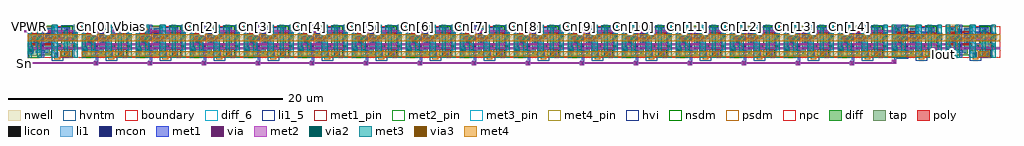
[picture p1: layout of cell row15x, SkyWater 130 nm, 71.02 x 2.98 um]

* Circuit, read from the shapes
.subckt row15x Cn[0] Cn[10] Cn[11] Cn[12] Cn[13] Cn[14] Cn[1] Cn[2] Cn[3] Cn[4] Cn[5] Cn[6] Cn[7] Cn[8] Cn[9] Iout Rn Sn VGND VPWR Vbias
XM1 icellwrapdummy_11/icell_0/PDM VPWR icellwrapdummy_11/icell_0/Ien VGND sky130_fd_pr__nfet_01v8 w=0.5 l=0.15
XM2 VGND VPWR icellwrapdummy_11/icell_0/PDM VGND sky130_fd_pr__nfet_01v8 w=0.5 l=0.15 m=2
XM3 icellwrapdummy_11/icell_0/SM icellwrapdummy_11/icell_0/Ien icellwrapdummy_11/icell_0/Iout VGND sky130_fd_pr__nfet_g5v0d10v5 w=0.5 l=0.5
XM4 VGND VGND icellwrapdummy_11/icell_0/SM VGND sky130_fd_pr__nfet_g5v0d10v5 w=0.5 l=0.5
XM5 icellwrap_0/icell_0/PDM Sn icellwrap_0/icell_0/Ien VGND sky130_fd_pr__nfet_01v8 w=0.5 l=0.15
XM6 VGND Cn[0] icellwrap_0/icell_0/PDM VGND sky130_fd_pr__nfet_01v8 w=0.5 l=0.15
XM7 icellwrap_0/icell_0/PDM Rn VGND VGND sky130_fd_pr__nfet_01v8 w=0.5 l=0.15
XM8 icellwrap_0/icell_0/SM icellwrap_0/icell_0/Ien Iout VGND sky130_fd_pr__nfet_g5v0d10v5 w=0.5 l=0.5
XM9 VGND Vbias icellwrap_0/icell_0/SM VGND sky130_fd_pr__nfet_g5v0d10v5 w=0.5 l=0.5
XM10 icellwrap_1/icell_0/PDM Sn icellwrap_1/icell_0/Ien VGND sky130_fd_pr__nfet_01v8 w=0.5 l=0.15
XM11 VGND Cn[1] icellwrap_1/icell_0/PDM VGND sky130_fd_pr__nfet_01v8 w=0.5 l=0.15
XM12 icellwrap_1/icell_0/PDM Rn VGND VGND sky130_fd_pr__nfet_01v8 w=0.5 l=0.15
XM13 icellwrap_1/icell_0/SM icellwrap_1/icell_0/Ien Iout VGND sky130_fd_pr__nfet_g5v0d10v5 w=0.5 l=0.5
XM14 VGND Vbias icellwrap_1/icell_0/SM VGND sky130_fd_pr__nfet_g5v0d10v5 w=0.5 l=0.5
XM15 icellwrap_2/icell_0/PDM Sn icellwrap_2/icell_0/Ien VGND sky130_fd_pr__nfet_01v8 w=0.5 l=0.15
XM16 VGND Cn[2] icellwrap_2/icell_0/PDM VGND sky130_fd_pr__nfet_01v8 w=0.5 l=0.15
XM17 icellwrap_2/icell_0/PDM Rn VGND VGND sky130_fd_pr__nfet_01v8 w=0.5 l=0.15
XM18 icellwrap_2/icell_0/SM icellwrap_2/icell_0/Ien Iout VGND sky130_fd_pr__nfet_g5v0d10v5 w=0.5 l=0.5
XM19 VGND Vbias icellwrap_2/icell_0/SM VGND sky130_fd_pr__nfet_g5v0d10v5 w=0.5 l=0.5
XM20 icellwrap_3/icell_0/PDM Sn icellwrap_3/icell_0/Ien VGND sky130_fd_pr__nfet_01v8 w=0.5 l=0.15
XM21 VGND Cn[3] icellwrap_3/icell_0/PDM VGND sky130_fd_pr__nfet_01v8 w=0.5 l=0.15
XM22 icellwrap_3/icell_0/PDM Rn VGND VGND sky130_fd_pr__nfet_01v8 w=0.5 l=0.15
XM23 icellwrap_3/icell_0/SM icellwrap_3/icell_0/Ien Iout VGND sky130_fd_pr__nfet_g5v0d10v5 w=0.5 l=0.5
XM24 VGND Vbias icellwrap_3/icell_0/SM VGND sky130_fd_pr__nfet_g5v0d10v5 w=0.5 l=0.5
XM25 icellwrap_4/icell_0/PDM Sn icellwrap_4/icell_0/Ien VGND sky130_fd_pr__nfet_01v8 w=0.5 l=0.15
XM26 VGND Cn[4] icellwrap_4/icell_0/PDM VGND sky130_fd_pr__nfet_01v8 w=0.5 l=0.15
XM27 icellwrap_4/icell_0/PDM Rn VGND VGND sky130_fd_pr__nfet_01v8 w=0.5 l=0.15
XM28 icellwrap_4/icell_0/SM icellwrap_4/icell_0/Ien Iout VGND sky130_fd_pr__nfet_g5v0d10v5 w=0.5 l=0.5
XM29 VGND Vbias icellwrap_4/icell_0/SM VGND sky130_fd_pr__nfet_g5v0d10v5 w=0.5 l=0.5
XM30 icellwrap_5/icell_0/PDM Sn icellwrap_5/icell_0/Ien VGND sky130_fd_pr__nfet_01v8 w=0.5 l=0.15
XM31 VGND Cn[5] icellwrap_5/icell_0/PDM VGND sky130_fd_pr__nfet_01v8 w=0.5 l=0.15
XM32 icellwrap_5/icell_0/PDM Rn VGND VGND sky130_fd_pr__nfet_01v8 w=0.5 l=0.15
XM33 icellwrap_5/icell_0/SM icellwrap_5/icell_0/Ien Iout VGND sky130_fd_pr__nfet_g5v0d10v5 w=0.5 l=0.5
XM34 VGND Vbias icellwrap_5/icell_0/SM VGND sky130_fd_pr__nfet_g5v0d10v5 w=0.5 l=0.5
XM35 icellwrap_17/icell_0/PDM Sn icellwrap_17/icell_0/Ien VGND sky130_fd_pr__nfet_01v8 w=0.5 l=0.15
XM36 VGND Cn[6] icellwrap_17/icell_0/PDM VGND sky130_fd_pr__nfet_01v8 w=0.5 l=0.15
XM37 icellwrap_17/icell_0/PDM Rn VGND VGND sky130_fd_pr__nfet_01v8 w=0.5 l=0.15
XM38 icellwrap_17/icell_0/SM icellwrap_17/icell_0/Ien Iout VGND sky130_fd_pr__nfet_g5v0d10v5 w=0.5 l=0.5
XM39 VGND Vbias icellwrap_17/icell_0/SM VGND sky130_fd_pr__nfet_g5v0d10v5 w=0.5 l=0.5
XM40 icellwrap_16/icell_0/PDM Sn icellwrap_16/icell_0/Ien VGND sky130_fd_pr__nfet_01v8 w=0.5 l=0.15
XM41 VGND Cn[7] icellwrap_16/icell_0/PDM VGND sky130_fd_pr__nfet_01v8 w=0.5 l=0.15
XM42 icellwrap_16/icell_0/PDM Rn VGND VGND sky130_fd_pr__nfet_01v8 w=0.5 l=0.15
XM43 icellwrap_16/icell_0/SM icellwrap_16/icell_0/Ien Iout VGND sky130_fd_pr__nfet_g5v0d10v5 w=0.5 l=0.5
XM44 VGND Vbias icellwrap_16/icell_0/SM VGND sky130_fd_pr__nfet_g5v0d10v5 w=0.5 l=0.5
XM45 icellwrap_15/icell_0/PDM Sn icellwrap_15/icell_0/Ien VGND sky130_fd_pr__nfet_01v8 w=0.5 l=0.15
XM46 VGND Cn[8] icellwrap_15/icell_0/PDM VGND sky130_fd_pr__nfet_01v8 w=0.5 l=0.15
XM47 icellwrap_15/icell_0/PDM Rn VGND VGND sky130_fd_pr__nfet_01v8 w=0.5 l=0.15
XM48 icellwrap_15/icell_0/SM icellwrap_15/icell_0/Ien Iout VGND sky130_fd_pr__nfet_g5v0d10v5 w=0.5 l=0.5
XM49 VGND Vbias icellwrap_15/icell_0/SM VGND sky130_fd_pr__nfet_g5v0d10v5 w=0.5 l=0.5
XM50 icellwrap_13/icell_0/PDM Sn icellwrap_13/icell_0/Ien VGND sky130_fd_pr__nfet_01v8 w=0.5 l=0.15
XM51 VGND Cn[9] icellwrap_13/icell_0/PDM VGND sky130_fd_pr__nfet_01v8 w=0.5 l=0.15
XM52 icellwrap_13/icell_0/PDM Rn VGND VGND sky130_fd_pr__nfet_01v8 w=0.5 l=0.15
XM53 icellwrap_13/icell_0/SM icellwrap_13/icell_0/Ien Iout VGND sky130_fd_pr__nfet_g5v0d10v5 w=0.5 l=0.5
XM54 VGND Vbias icellwrap_13/icell_0/SM VGND sky130_fd_pr__nfet_g5v0d10v5 w=0.5 l=0.5
XM55 icellwrap_9/icell_0/PDM Sn icellwrap_9/icell_0/Ien VGND sky130_fd_pr__nfet_01v8 w=0.5 l=0.15
XM56 VGND Cn[10] icellwrap_9/icell_0/PDM VGND sky130_fd_pr__nfet_01v8 w=0.5 l=0.15
XM57 icellwrap_9/icell_0/PDM Rn VGND VGND sky130_fd_pr__nfet_01v8 w=0.5 l=0.15
XM58 icellwrap_9/icell_0/SM icellwrap_9/icell_0/Ien Iout VGND sky130_fd_pr__nfet_g5v0d10v5 w=0.5 l=0.5
XM59 VGND Vbias icellwrap_9/icell_0/SM VGND sky130_fd_pr__nfet_g5v0d10v5 w=0.5 l=0.5
XM60 icellwrap_12/icell_0/PDM Sn icellwrap_12/icell_0/Ien VGND sky130_fd_pr__nfet_01v8 w=0.5 l=0.15
XM61 VGND Cn[11] icellwrap_12/icell_0/PDM VGND sky130_fd_pr__nfet_01v8 w=0.5 l=0.15
XM62 icellwrap_12/icell_0/PDM Rn VGND VGND sky130_fd_pr__nfet_01v8 w=0.5 l=0.15
XM63 icellwrap_12/icell_0/SM icellwrap_12/icell_0/Ien Iout VGND sky130_fd_pr__nfet_g5v0d10v5 w=0.5 l=0.5
XM64 VGND Vbias icellwrap_12/icell_0/SM VGND sky130_fd_pr__nfet_g5v0d10v5 w=0.5 l=0.5
XM65 icellwrap_10/icell_0/PDM Sn icellwrap_10/icell_0/Ien VGND sky130_fd_pr__nfet_01v8 w=0.5 l=0.15
XM66 VGND Cn[12] icellwrap_10/icell_0/PDM VGND sky130_fd_pr__nfet_01v8 w=0.5 l=0.15
XM67 icellwrap_10/icell_0/PDM Rn VGND VGND sky130_fd_pr__nfet_01v8 w=0.5 l=0.15
XM68 icellwrap_10/icell_0/SM icellwrap_10/icell_0/Ien Iout VGND sky130_fd_pr__nfet_g5v0d10v5 w=0.5 l=0.5
XM69 VGND Vbias icellwrap_10/icell_0/SM VGND sky130_fd_pr__nfet_g5v0d10v5 w=0.5 l=0.5
XM70 icellwrap_8/icell_0/PDM Sn icellwrap_8/icell_0/Ien VGND sky130_fd_pr__nfet_01v8 w=0.5 l=0.15
XM71 VGND Cn[13] icellwrap_8/icell_0/PDM VGND sky130_fd_pr__nfet_01v8 w=0.5 l=0.15
XM72 icellwrap_8/icell_0/PDM Rn VGND VGND sky130_fd_pr__nfet_01v8 w=0.5 l=0.15
XM73 icellwrap_8/icell_0/SM icellwrap_8/icell_0/Ien Iout VGND sky130_fd_pr__nfet_g5v0d10v5 w=0.5 l=0.5
XM74 VGND Vbias icellwrap_8/icell_0/SM VGND sky130_fd_pr__nfet_g5v0d10v5 w=0.5 l=0.5
XM75 icellwrap_7/icell_0/PDM Sn icellwrap_7/icell_0/Ien VGND sky130_fd_pr__nfet_01v8 w=0.5 l=0.15
XM76 VGND Cn[14] icellwrap_7/icell_0/PDM VGND sky130_fd_pr__nfet_01v8 w=0.5 l=0.15
XM77 icellwrap_7/icell_0/PDM Rn VGND VGND sky130_fd_pr__nfet_01v8 w=0.5 l=0.15
XM78 icellwrap_7/icell_0/SM icellwrap_7/icell_0/Ien Iout VGND sky130_fd_pr__nfet_g5v0d10v5 w=0.5 l=0.5
XM79 VGND Vbias icellwrap_7/icell_0/SM VGND sky130_fd_pr__nfet_g5v0d10v5 w=0.5 l=0.5
XM80 icellwrapfinal_6/icell_0/PDM Sn icellwrapfinal_6/icell_0/Ien VGND sky130_fd_pr__nfet_01v8 w=0.5 l=0.15
XM81 VGND VPWR icellwrapfinal_6/icell_0/PDM VGND sky130_fd_pr__nfet_01v8 w=0.5 l=0.15 m=2
XM82 icellwrapfinal_6/icell_0/SM icellwrapfinal_6/icell_0/Ien Iout VGND sky130_fd_pr__nfet_g5v0d10v5 w=0.5 l=0.5
XM83 VGND Vbias icellwrapfinal_6/icell_0/SM VGND sky130_fd_pr__nfet_g5v0d10v5 w=0.5 l=0.5
XM84 icellwrapdummy_14/icell_0/PDM VPWR icellwrapdummy_14/icell_0/Ien VGND sky130_fd_pr__nfet_01v8 w=0.5 l=0.15
XM85 VGND VPWR icellwrapdummy_14/icell_0/PDM VGND sky130_fd_pr__nfet_01v8 w=0.5 l=0.15 m=2
XM86 icellwrapdummy_14/icell_0/SM icellwrapdummy_14/icell_0/Ien icellwrapdummy_14/icell_0/Iout VGND sky130_fd_pr__nfet_g5v0d10v5 w=0.5 l=0.5
XM87 VGND VGND icellwrapdummy_14/icell_0/SM VGND sky130_fd_pr__nfet_g5v0d10v5 w=0.5 l=0.5
XM88 icellwrapdummy_11/icell_0/Ien VPWR VPWR VPWR sky130_fd_pr__pfet_01v8 w=0.5 l=0.15
XM89 icellwrapdummy_11/icell_0/PUM VPWR icellwrapdummy_11/icell_0/Ien VPWR sky130_fd_pr__pfet_01v8 w=0.5 l=0.15
XM90 VPWR VPWR icellwrapdummy_11/icell_0/PUM VPWR sky130_fd_pr__pfet_01v8 w=0.5 l=0.15
XM91 icellwrap_0/icell_0/Ien Sn VPWR VPWR sky130_fd_pr__pfet_01v8 w=0.5 l=0.15
XM92 icellwrap_0/icell_0/PUM Cn[0] icellwrap_0/icell_0/Ien VPWR sky130_fd_pr__pfet_01v8 w=0.5 l=0.15
XM93 VPWR Rn icellwrap_0/icell_0/PUM VPWR sky130_fd_pr__pfet_01v8 w=0.5 l=0.15
XM94 icellwrap_1/icell_0/Ien Sn VPWR VPWR sky130_fd_pr__pfet_01v8 w=0.5 l=0.15
XM95 icellwrap_1/icell_0/PUM Cn[1] icellwrap_1/icell_0/Ien VPWR sky130_fd_pr__pfet_01v8 w=0.5 l=0.15
XM96 VPWR Rn icellwrap_1/icell_0/PUM VPWR sky130_fd_pr__pfet_01v8 w=0.5 l=0.15
XM97 icellwrap_2/icell_0/Ien Sn VPWR VPWR sky130_fd_pr__pfet_01v8 w=0.5 l=0.15
XM98 icellwrap_2/icell_0/PUM Cn[2] icellwrap_2/icell_0/Ien VPWR sky130_fd_pr__pfet_01v8 w=0.5 l=0.15
XM99 VPWR Rn icellwrap_2/icell_0/PUM VPWR sky130_fd_pr__pfet_01v8 w=0.5 l=0.15
XM100 icellwrap_3/icell_0/Ien Sn VPWR VPWR sky130_fd_pr__pfet_01v8 w=0.5 l=0.15
XM101 icellwrap_3/icell_0/PUM Cn[3] icellwrap_3/icell_0/Ien VPWR sky130_fd_pr__pfet_01v8 w=0.5 l=0.15
XM102 VPWR Rn icellwrap_3/icell_0/PUM VPWR sky130_fd_pr__pfet_01v8 w=0.5 l=0.15
XM103 icellwrap_4/icell_0/Ien Sn VPWR VPWR sky130_fd_pr__pfet_01v8 w=0.5 l=0.15
XM104 icellwrap_4/icell_0/PUM Cn[4] icellwrap_4/icell_0/Ien VPWR sky130_fd_pr__pfet_01v8 w=0.5 l=0.15
XM105 VPWR Rn icellwrap_4/icell_0/PUM VPWR sky130_fd_pr__pfet_01v8 w=0.5 l=0.15
XM106 icellwrap_5/icell_0/Ien Sn VPWR VPWR sky130_fd_pr__pfet_01v8 w=0.5 l=0.15
XM107 icellwrap_5/icell_0/PUM Cn[5] icellwrap_5/icell_0/Ien VPWR sky130_fd_pr__pfet_01v8 w=0.5 l=0.15
XM108 VPWR Rn icellwrap_5/icell_0/PUM VPWR sky130_fd_pr__pfet_01v8 w=0.5 l=0.15
XM109 icellwrap_17/icell_0/Ien Sn VPWR VPWR sky130_fd_pr__pfet_01v8 w=0.5 l=0.15
XM110 icellwrap_17/icell_0/PUM Cn[6] icellwrap_17/icell_0/Ien VPWR sky130_fd_pr__pfet_01v8 w=0.5 l=0.15
XM111 VPWR Rn icellwrap_17/icell_0/PUM VPWR sky130_fd_pr__pfet_01v8 w=0.5 l=0.15
XM112 icellwrap_16/icell_0/Ien Sn VPWR VPWR sky130_fd_pr__pfet_01v8 w=0.5 l=0.15
XM113 icellwrap_16/icell_0/PUM Cn[7] icellwrap_16/icell_0/Ien VPWR sky130_fd_pr__pfet_01v8 w=0.5 l=0.15
XM114 VPWR Rn icellwrap_16/icell_0/PUM VPWR sky130_fd_pr__pfet_01v8 w=0.5 l=0.15
XM115 icellwrap_15/icell_0/Ien Sn VPWR VPWR sky130_fd_pr__pfet_01v8 w=0.5 l=0.15
XM116 icellwrap_15/icell_0/PUM Cn[8] icellwrap_15/icell_0/Ien VPWR sky130_fd_pr__pfet_01v8 w=0.5 l=0.15
XM117 VPWR Rn icellwrap_15/icell_0/PUM VPWR sky130_fd_pr__pfet_01v8 w=0.5 l=0.15
XM118 icellwrap_13/icell_0/Ien Sn VPWR VPWR sky130_fd_pr__pfet_01v8 w=0.5 l=0.15
XM119 icellwrap_13/icell_0/PUM Cn[9] icellwrap_13/icell_0/Ien VPWR sky130_fd_pr__pfet_01v8 w=0.5 l=0.15
XM120 VPWR Rn icellwrap_13/icell_0/PUM VPWR sky130_fd_pr__pfet_01v8 w=0.5 l=0.15
XM121 icellwrap_9/icell_0/Ien Sn VPWR VPWR sky130_fd_pr__pfet_01v8 w=0.5 l=0.15
XM122 icellwrap_9/icell_0/PUM Cn[10] icellwrap_9/icell_0/Ien VPWR sky130_fd_pr__pfet_01v8 w=0.5 l=0.15
XM123 VPWR Rn icellwrap_9/icell_0/PUM VPWR sky130_fd_pr__pfet_01v8 w=0.5 l=0.15
XM124 icellwrap_12/icell_0/Ien Sn VPWR VPWR sky130_fd_pr__pfet_01v8 w=0.5 l=0.15
XM125 icellwrap_12/icell_0/PUM Cn[11] icellwrap_12/icell_0/Ien VPWR sky130_fd_pr__pfet_01v8 w=0.5 l=0.15
XM126 VPWR Rn icellwrap_12/icell_0/PUM VPWR sky130_fd_pr__pfet_01v8 w=0.5 l=0.15
XM127 icellwrap_10/icell_0/Ien Sn VPWR VPWR sky130_fd_pr__pfet_01v8 w=0.5 l=0.15
XM128 icellwrap_10/icell_0/PUM Cn[12] icellwrap_10/icell_0/Ien VPWR sky130_fd_pr__pfet_01v8 w=0.5 l=0.15
XM129 VPWR Rn icellwrap_10/icell_0/PUM VPWR sky130_fd_pr__pfet_01v8 w=0.5 l=0.15
XM130 icellwrap_8/icell_0/Ien Sn VPWR VPWR sky130_fd_pr__pfet_01v8 w=0.5 l=0.15
XM131 icellwrap_8/icell_0/PUM Cn[13] icellwrap_8/icell_0/Ien VPWR sky130_fd_pr__pfet_01v8 w=0.5 l=0.15
XM132 VPWR Rn icellwrap_8/icell_0/PUM VPWR sky130_fd_pr__pfet_01v8 w=0.5 l=0.15
XM133 icellwrap_7/icell_0/Ien Sn VPWR VPWR sky130_fd_pr__pfet_01v8 w=0.5 l=0.15
XM134 icellwrap_7/icell_0/PUM Cn[14] icellwrap_7/icell_0/Ien VPWR sky130_fd_pr__pfet_01v8 w=0.5 l=0.15
XM135 VPWR Rn icellwrap_7/icell_0/PUM VPWR sky130_fd_pr__pfet_01v8 w=0.5 l=0.15
XM136 icellwrapfinal_6/icell_0/Ien Sn VPWR VPWR sky130_fd_pr__pfet_01v8 w=0.5 l=0.15
XM137 icellwrapfinal_6/icell_0/PUM VPWR icellwrapfinal_6/icell_0/Ien VPWR sky130_fd_pr__pfet_01v8 w=0.5 l=0.15
XM138 VPWR VPWR icellwrapfinal_6/icell_0/PUM VPWR sky130_fd_pr__pfet_01v8 w=0.5 l=0.15
XM139 icellwrapdummy_14/icell_0/Ien VPWR VPWR VPWR sky130_fd_pr__pfet_01v8 w=0.5 l=0.15
XM140 icellwrapdummy_14/icell_0/PUM VPWR icellwrapdummy_14/icell_0/Ien VPWR sky130_fd_pr__pfet_01v8 w=0.5 l=0.15
XM141 VPWR VPWR icellwrapdummy_14/icell_0/PUM VPWR sky130_fd_pr__pfet_01v8 w=0.5 l=0.15
.ends

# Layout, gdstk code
import gdstk
lib = gdstk.Library(unit=1e-6, precision=1e-09)
def R(c, l, rs):  # rectangles x0, y0, x1, y1
    for r in rs: c.add(gdstk.rectangle(r[:2], r[2:], *l))
def A(c, l, x, y, w, h, nx, ny, dx, dy):  # array of equal rectangles
    R(c, l, [(x+i*dx, y+j*dy, x+i*dx+w, y+j*dy+h) for i in range(nx) for j in range(ny)])
nwell = (64, 20)
diff_6 = (65, 6)
diff = (65, 20)
tap = (65, 44)
poly = (66, 20)
licon = (66, 44)
li1_5 = (67, 5)
li1 = (67, 20)
mcon = (67, 44)
met1_pin = (68, 16)
met1 = (68, 20)
via = (68, 44)
met2_pin = (69, 16)
met2 = (69, 20)
via2 = (69, 44)
met3_pin = (70, 16)
met3 = (70, 20)
via3 = (70, 44)
met4_pin = (71, 16)
met4 = (71, 20)
hvi = (75, 20)
nsdm = (93, 44)
psdm = (94, 20)
npc = (95, 20)
hvntm = (125, 20)
boundary = (235, 4)

icell = lib.new_cell('icell')
R(icell, nwell, [(0,-0.04,0.86,2.43)])
R(icell, diff_6, [(2.65,1.13,3.05,1.28), (0.26,1.57,0.6,1.71)])
R(icell, diff, [(2.6,0.23,3.1,2.18), (1.28,0.32,1.59,0.66), (0.18,0.61,0.68,2.19), (1.28,0.66,1.78,2.19), (1.28,2.19,1.59,2.21)])
R(icell, tap, [(2.06,0.02,2.23,0.44), (0.18,0.14,0.68,0.61)])
R(icell, poly, [(2.16,0.58,3.54,1.08), (0.87,0.73,1.14,0.91), (0.05,0.91,1.92,1.06), (0.84,1.29,1.17,1.35), (2.16,1.33,3.54,1.83), (0.05,1.35,1.92,1.5), (0.84,1.5,1.17,1.56), (0.05,1.77,1.14,1.79), (0.05,1.79,1.92,1.92), (0.87,1.92,1.92,1.94), (0.87,1.94,1.14,2.12)])
A(icell, licon, 0.92, 0.81, 0.17, 0.17, 1, 3, 0, 0.53)
R(icell, licon, [(2.06,0.15,2.23,0.32), (2.765,0.295,2.935,0.465), (0.22,0.33,0.39,0.5), (0.22,0.67,0.39,0.84), (1.38,0.68,1.55,0.85), (2.225,0.745,2.395,0.915), (3.305,0.745,3.475,0.915), (0.47,1.12,0.64,1.29), (1.46,1.12,1.63,1.29), (2.225,1.495,2.395,1.665), (3.305,1.495,3.475,1.665), (1.37,1.56,1.54,1.73), (2.765,1.95,2.935,2.12), (0.39,1.98,0.56,2.15), (1.38,2,1.55,2.17)])
R(icell, li1_5, [(0.92,0.39,1.22,0.54), (1.3,2.01,1.36,2.15)])
R(icell, li1, [(2,0.07,2.23,0.4), (0.03,0.25,0.39,0.92), (2.6,0.28,3.1,0.48), (0.56,0.38,1.47,0.55), (0.56,0.55,0.73,1.12), (1.3,0.55,1.47,0.67), (2.16,0.58,2.46,0.67), (3.24,0.58,3.54,0.68), (1.3,0.67,2.46,0.68), (1.3,0.68,3.54,0.85), (0.92,0.72,1.09,1.07), (2.16,0.85,3.54,1.08), (0.03,0.92,0.22,1.98), (0.39,1.12,0.73,1.29), (1.28,1.12,1.96,1.29), (0.92,1.26,1.09,1.59), (1.79,1.29,1.96,2), (2.16,1.33,3.54,1.73), (1.29,1.56,1.62,1.73), (2.16,1.73,2.46,1.83), (3.24,1.73,3.54,1.83), (0.92,1.78,1.09,2.13), (2.6,1.93,3.1,2.18), (0.03,1.98,0.66,2.22), (1.28,2,1.96,2.17)])
A(icell, mcon, 0.92, 0.81, 0.17, 0.17, 1, 3, 0, 0.53)
R(icell, mcon, [(2.03,0.15,2.2,0.32), (2.765,0.295,2.935,0.465), (0.22,0.5,0.39,0.67), (3.305,1.495,3.475,1.665), (1.37,1.56,1.54,1.73), (2.765,1.95,2.935,2.12)])
R(icell, met1_pin, [(2.65,0.12,3.05,0.46), (0.12,0.46,0.37,0.71), (0.92,0.75,1.15,1.04), (0.47,1.3,0.72,1.55), (3.29,1.38,3.59,1.78), (1.78,1.5,2.03,1.75), (0.92,1.81,1.15,2.1)])
R(icell, met1, [(1.7,0.07,2.23,0.4), (2.6,0.07,3.1,0.51), (1.7,0.4,2.08,1.47), (0.07,0.41,0.42,0.76), (0.89,0.72,1.18,1.07), (0.42,1.25,1.14,1.6), (3.24,1.33,3.64,1.83), (1.29,1.47,2.08,1.81), (0.89,1.78,1.15,2.13), (1.7,1.81,2.08,1.88), (1.7,1.88,3.1,2.23)])
R(icell, hvi, [(1.725,-0.19,2.565,0.045), (1.725,0.045,3.285,0.65), (2.415,0.65,3.285,2.365)])
R(icell, nsdm, [(0.055,0.015,0.805,0.195), (2.475,0.105,3.225,2.305), (0.055,0.195,1.715,0.535), (0.055,0.535,1.905,0.61), (1.155,0.61,1.905,2.315), (1.155,2.315,1.715,2.335)])
R(icell, psdm, [(1.935,-0.105,2.355,0.565), (0.055,0.61,0.805,2.315)])
R(icell, npc, [(2.125,0.645,2.495,1.015), (3.205,0.645,3.575,1.015), (0.82,0.71,1.19,2.14), (2.125,1.395,2.495,1.765), (3.205,1.395,3.575,1.765)])
R(icell, hvntm, [(2.415,0.045,3.285,2.365)])
R(icell, boundary, [(0,0,3.93,2.32)])
icell.add(gdstk.Label('PDM', (1.33,2.08), layer=67, texttype=5))
icell.add(gdstk.Label('Ien', (1.07,0.465), layer=67, texttype=5))
icell.add(gdstk.Label('Rn', (1.035,1.955), layer=68, texttype=5))
icell.add(gdstk.Label('VPWR', (0.245,0.585), layer=68, texttype=5))
icell.add(gdstk.Label('Sn', (1.035,0.895), layer=68, texttype=5))
icell.add(gdstk.Label('Cn', (0.595,1.425), layer=68, texttype=5))
icell.add(gdstk.Label('Iout', (2.85,0.29), layer=68, texttype=5))
icell.add(gdstk.Label('VGND', (1.905,1.625), layer=68, texttype=5))
icell.add(gdstk.Label('Vbias', (3.44,1.58), layer=68, texttype=5))
icell.add(gdstk.Label('PUM', (0.43,1.64), layer=65, texttype=6))
icell.add(gdstk.Label('SM', (2.85,1.205), layer=65, texttype=6))

icellwrap = lib.new_cell('icellwrap')
R(icellwrap, met1_pin, [(1,0,1.18,0.18)])
R(icellwrap, met1, [(0.89,-0.55,1.15,-0.2), (1,-0.2,1.18,1.04), (1.73,0,2.17,2.43), (2.6,0.07,2.99,0.48), (0,0.36,0.39,0.77), (0.6,1.22,0.99,1.63), (3.24,1.33,3.63,1.74), (0.89,1.77,1.15,2.12), (1,2.12,1.18,2.43)])
R(icellwrap, via, [(0.945,-0.455,1.095,-0.305), (2.72,0.2,2.87,0.35), (0.12,0.49,0.27,0.64), (0.72,1.35,0.87,1.5), (1.875,1.39,2.025,1.54), (3.36,1.46,3.51,1.61), (0.945,1.865,1.095,2.015)])
R(icellwrap, met2_pin, [(0,1.88,0.14,2.02)])
R(icellwrap, met2, [(0.86,-0.52,1.19,-0.44), (0,-0.44,3.93,-0.3), (0.86,-0.3,1.19,-0.24), (2.6,0.07,2.99,0.48), (0,0.36,0.39,0.63), (0,0.63,3.93,0.77), (0,0.91,3.93,1.07), (3.24,1.07,3.63,1.74), (1.73,1.21,2.17,1.72), (0.6,1.22,0.99,1.63), (0.86,1.8,1.19,1.88), (0,1.88,3.93,2.02), (0.86,2.02,1.19,2.08)])
R(icellwrap, via2, [(2.695,0.175,2.895,0.375), (0.095,0.465,0.295,0.665), (0.695,1.325,0.895,1.525), (1.85,1.365,2.05,1.565), (3.335,1.435,3.535,1.635)])
R(icellwrap, met3_pin, [(0,2.2,0.3,2.32), (0.69,2.2,0.99,2.32), (1.73,2.2,2.17,2.32), (2.6,2.2,2.9,2.32), (3.33,2.2,3.63,2.32)])
R(icellwrap, met3, [(0,0,0.3,0.36), (0.69,0,0.99,1.22), (1.73,0,2.17,2.43), (2.6,0,2.9,0.07), (3.33,0,3.63,1.33), (2.6,0.07,3.02,0.49), (0,0.36,0.39,0.77), (2.6,0.49,2.9,2.43), (0,0.77,0.3,2.43), (0.6,1.22,0.99,1.63), (3.24,1.33,3.63,1.74), (0.69,1.63,0.99,2.43), (3.33,1.74,3.63,2.43)])
R(icellwrap, via3, [(2.71,0.18,2.91,0.38), (1.85,1.365,2.05,1.565)])
R(icellwrap, met4, [(0,0.07,3.93,0.48), (0,1.21,3.93,1.72)])
R(icellwrap, boundary, [(0,0,3.93,2.32)])
icellwrap.add(gdstk.Reference(icell, (0,0)))
icellwrap.add(gdstk.Label('Sn', (1.09,0.09), layer=68, texttype=5))
icellwrap.add(gdstk.Label('Vbias', (3.48,2.26), layer=70, texttype=5))
icellwrap.add(gdstk.Label('Iout', (2.75,2.26), layer=70, texttype=5))
icellwrap.add(gdstk.Label('VGND', (1.95,2.26), layer=70, texttype=5))
icellwrap.add(gdstk.Label('Cn', (0.84,2.26), layer=70, texttype=5))
icellwrap.add(gdstk.Label('VPWR', (0.15,2.26), layer=70, texttype=5))
icellwrap.add(gdstk.Label('Rn', (0.07,1.95), layer=69, texttype=5))

icellwrapfinal = lib.new_cell('icellwrapfinal')
R(icellwrapfinal, li1, [(0.21,1.95,1.09,2.12)])
R(icellwrapfinal, met1_pin, [(1,0,1.18,0.18)])
R(icellwrapfinal, met1, [(0,-0.44,0.32,-0.12), (0.18,-0.12,0.32,-0.06), (0.18,-0.06,0.75,-0.05), (0.18,-0.05,1.18,0.08), (1.73,0,2.17,2.43), (2.6,0.07,2.99,0.48), (0.61,0.08,1.18,0.09), (1,0.09,1.18,1.04), (0,0.36,0.39,0.77), (0.6,1.22,0.99,1.63), (3.24,1.33,3.63,1.74), (0,1.88,0.32,2.2), (0.18,2.2,0.32,2.26), (0.18,2.26,0.75,2.27), (0.18,2.27,1.18,2.4), (0.61,2.4,1.18,2.41), (1,2.41,1.18,2.43)])
R(icellwrapfinal, via, [(0.085,-0.355,0.235,-0.205), (2.72,0.2,2.87,0.35), (0.12,0.49,0.27,0.64), (0.72,1.35,0.87,1.5), (1.875,1.39,2.025,1.54), (3.36,1.46,3.51,1.61), (0.085,1.965,0.235,2.115)])
R(icellwrapfinal, met2_pin, [(0,1.88,0.14,2.02)])
R(icellwrapfinal, met2, [(0,-0.44,0.32,-0.12), (2.6,0.07,2.99,0.48), (0,0.36,0.39,0.63), (0,0.63,3.93,0.77), (0,0.91,3.93,1.07), (3.24,1.07,3.63,1.74), (1.73,1.21,2.17,1.72), (0.6,1.22,0.99,1.63), (0,1.88,0.32,2.2)])
R(icellwrapfinal, via2, [(2.695,0.175,2.895,0.375), (0.095,0.465,0.295,0.665), (0.695,1.325,0.895,1.525), (1.85,1.365,2.05,1.565), (3.335,1.435,3.535,1.635)])
R(icellwrapfinal, met3_pin, [(0,2.2,0.3,2.32), (1.73,2.2,2.17,2.32), (2.6,2.2,2.9,2.32), (3.33,2.2,3.63,2.32)])
R(icellwrapfinal, met3, [(0,0,0.3,0.36), (0.69,0,0.99,1.22), (1.73,0,2.17,2.43), (2.6,0,2.9,0.07), (3.33,0,3.63,1.33), (2.6,0.07,3.02,0.49), (0,0.36,0.39,0.77), (2.6,0.49,2.9,2.43), (0,0.77,0.3,1.3), (0.6,1.22,0.99,1.3), (0,1.3,0.99,1.6), (3.24,1.33,3.63,1.74), (0,1.6,0.3,2.43), (0.6,1.6,0.99,1.63), (0.69,1.63,0.99,2.43), (3.33,1.74,3.63,2.43)])
R(icellwrapfinal, via3, [(2.71,0.18,2.91,0.38), (1.85,1.365,2.05,1.565)])
R(icellwrapfinal, met4, [(0,0.07,3.93,0.48), (0,1.21,3.93,1.72)])
R(icellwrapfinal, boundary, [(0,0,3.93,2.32)])
icellwrapfinal.add(gdstk.Reference(icell, (0,0)))
icellwrapfinal.add(gdstk.Label('Sn', (1.09,0.09), layer=68, texttype=5))
icellwrapfinal.add(gdstk.Label('Vbias', (3.48,2.26), layer=70, texttype=5))
icellwrapfinal.add(gdstk.Label('Iout', (2.75,2.26), layer=70, texttype=5))
icellwrapfinal.add(gdstk.Label('VGND', (1.95,2.26), layer=70, texttype=5))
icellwrapfinal.add(gdstk.Label('VPWR', (0.15,2.26), layer=70, texttype=5))
icellwrapfinal.add(gdstk.Label('Rn', (0.07,1.95), layer=69, texttype=5))

icellwrapdummy = lib.new_cell('icellwrapdummy')
R(icellwrapdummy, met1, [(1,0,1.18,0.63), (1.73,0,2.17,2.43), (2.6,0.07,2.99,0.48), (0,0.36,0.39,0.63), (0,0.63,1.18,0.77), (1,0.77,1.18,1.22), (0.6,1.22,1.18,1.34), (3.24,1.33,3.63,1.74), (0.6,1.34,1.15,1.63), (0.89,1.63,1.15,1.95), (0.89,1.95,1.18,2.12), (1,2.12,1.18,2.43)])
R(icellwrapdummy, via, [(2.72,0.2,2.87,0.35), (0.12,0.49,0.27,0.64), (0.72,1.35,0.87,1.5), (1.875,1.39,2.025,1.54), (3.36,1.46,3.51,1.61)])
R(icellwrapdummy, met2, [(2.6,0.07,2.99,0.48), (0,0.36,0.39,0.63), (0,0.63,3.93,0.77), (0.6,1.21,1,1.63), (1.73,1.21,2.17,1.3), (1.73,1.3,3.63,1.45), (1.73,1.45,2.17,1.72), (3.24,1.45,3.63,1.74)])
R(icellwrapdummy, via2, [(2.695,0.175,2.895,0.375), (0.095,0.465,0.295,0.665), (0.695,1.325,0.895,1.525), (1.85,1.365,2.05,1.565), (3.335,1.435,3.535,1.635)])
R(icellwrapdummy, met3_pin, [(0,2.2,0.3,2.32), (1.73,2.2,2.17,2.32)])
R(icellwrapdummy, met3, [(0,0,0.3,0.36), (0.69,0,0.99,1.22), (1.73,0,2.17,2.43), (3.33,0,3.63,1.33), (2.6,0.07,3.02,0.49), (0,0.36,0.39,0.77), (2.6,0.49,2.9,2.02), (0,0.77,0.3,2.43), (0.6,1.22,0.99,1.63), (3.24,1.33,3.63,1.74), (0.69,1.63,0.99,2.43), (3.33,1.74,3.63,2.43)])
R(icellwrapdummy, via3, [(2.71,0.18,2.91,0.38), (1.85,1.365,2.05,1.565)])
R(icellwrapdummy, met4, [(2.4,0.07,3.2,0.48), (0,1.21,3.93,1.72)])
R(icellwrapdummy, boundary, [(0,0,3.93,2.32)])
icellwrapdummy.add(gdstk.Reference(icell, (0,0)))
icellwrapdummy.add(gdstk.Label('VGND', (1.95,2.26), layer=70, texttype=5))
icellwrapdummy.add(gdstk.Label('VPWR', (0.15,2.26), layer=70, texttype=5))

row15x = lib.new_cell('row15x')
R(row15x, met2_pin, [(-0.28,-0.44,-0.14,-0.3), (-0.28,1.88,-0.14,2.02)])
R(row15x, met2, [(-0.28,-0.44,4.07,-0.3), (-0.28,1.88,4.07,2.02)])
A(row15x, met3_pin, 8.55, 2.2, 0.3, 0.12, 14, 1, 3.93, 0)
R(row15x, met3_pin, [(0,2.2,0.3,2.32), (1.73,2.2,2.17,2.32), (4.62,2.2,4.92,2.32), (7.26,2.2,7.56,2.32)])
A(row15x, met3, 8.55, 2.13, 0.3, 0.3, 14, 1, 3.93, 0)
R(row15x, met3, [(0,2.13,0.3,2.43), (1.73,2.13,2.17,2.43), (4.62,2.13,4.92,2.43), (7.26,2.13,7.56,2.43)])
R(row15x, met4_pin, [(66.4,0.07,66.81,0.48)])
R(row15x, met4, [(66.4,0.07,66.81,0.48)])
R(row15x, boundary, [(0,0,70.74,2.32)])
row15x.add(gdstk.Reference(icellwrap, (3.93,0)))
row15x.add(gdstk.Reference(icellwrap, (7.86,0)))
row15x.add(gdstk.Reference(icellwrap, (11.79,0)))
row15x.add(gdstk.Reference(icellwrap, (15.72,0)))
row15x.add(gdstk.Reference(icellwrap, (19.65,0)))
row15x.add(gdstk.Reference(icellwrap, (23.58,0)))
row15x.add(gdstk.Reference(icellwrapfinal, (62.88,0)))
row15x.add(gdstk.Reference(icellwrap, (58.95,0)))
row15x.add(gdstk.Reference(icellwrap, (55.02,0)))
row15x.add(gdstk.Reference(icellwrap, (43.23,0)))
row15x.add(gdstk.Reference(icellwrap, (51.09,0)))
row15x.add(gdstk.Reference(icellwrapdummy, (0,0)))
row15x.add(gdstk.Reference(icellwrap, (47.16,0)))
row15x.add(gdstk.Reference(icellwrap, (39.3,0)))
row15x.add(gdstk.Reference(icellwrapdummy, (66.81,0)))
row15x.add(gdstk.Reference(icellwrap, (35.37,0)))
row15x.add(gdstk.Reference(icellwrap, (31.44,0)))
row15x.add(gdstk.Reference(icellwrap, (27.51,0)))
row15x.add(gdstk.Label('Cn[13]', (55.86,2.26), layer=70, texttype=5))
row15x.add(gdstk.Label('Cn[12]', (51.93,2.26), layer=70, texttype=5))
row15x.add(gdstk.Label('Cn[14]', (59.79,2.26), layer=70, texttype=5))
row15x.add(gdstk.Label('Cn[11]', (48,2.26), layer=70, texttype=5))
row15x.add(gdstk.Label('Cn[10]', (44.07,2.26), layer=70, texttype=5))
row15x.add(gdstk.Label('VPWR', (0.15,2.26), layer=70, texttype=5))
row15x.add(gdstk.Label('Cn[8]', (36.21,2.26), layer=70, texttype=5))
row15x.add(gdstk.Label('VGND', (1.95,2.26), layer=70, texttype=5))
row15x.add(gdstk.Label('Cn[6]', (28.35,2.26), layer=70, texttype=5))
row15x.add(gdstk.Label('Vbias', (7.41,2.26), layer=70, texttype=5))
row15x.add(gdstk.Label('Cn[1]', (8.7,2.26), layer=70, texttype=5))
row15x.add(gdstk.Label('Cn[2]', (12.63,2.26), layer=70, texttype=5))
row15x.add(gdstk.Label('Cn[4]', (20.49,2.26), layer=70, texttype=5))
row15x.add(gdstk.Label('Cn[3]', (16.56,2.26), layer=70, texttype=5))
row15x.add(gdstk.Label('Cn[0]', (4.77,2.26), layer=70, texttype=5))
row15x.add(gdstk.Label('Cn[5]', (24.42,2.26), layer=70, texttype=5))
row15x.add(gdstk.Label('Cn[7]', (32.28,2.26), layer=70, texttype=5))
row15x.add(gdstk.Label('Cn[9]', (40.14,2.26), layer=70, texttype=5))
row15x.add(gdstk.Label('Iout', (66.605,0.275), layer=71, texttype=5))
row15x.add(gdstk.Label('Sn', (-0.21,-0.37), layer=69, texttype=5))
row15x.add(gdstk.Label('Rn', (-0.21,1.95), layer=69, texttype=5))

lib.write_gds('row15x.gds')
